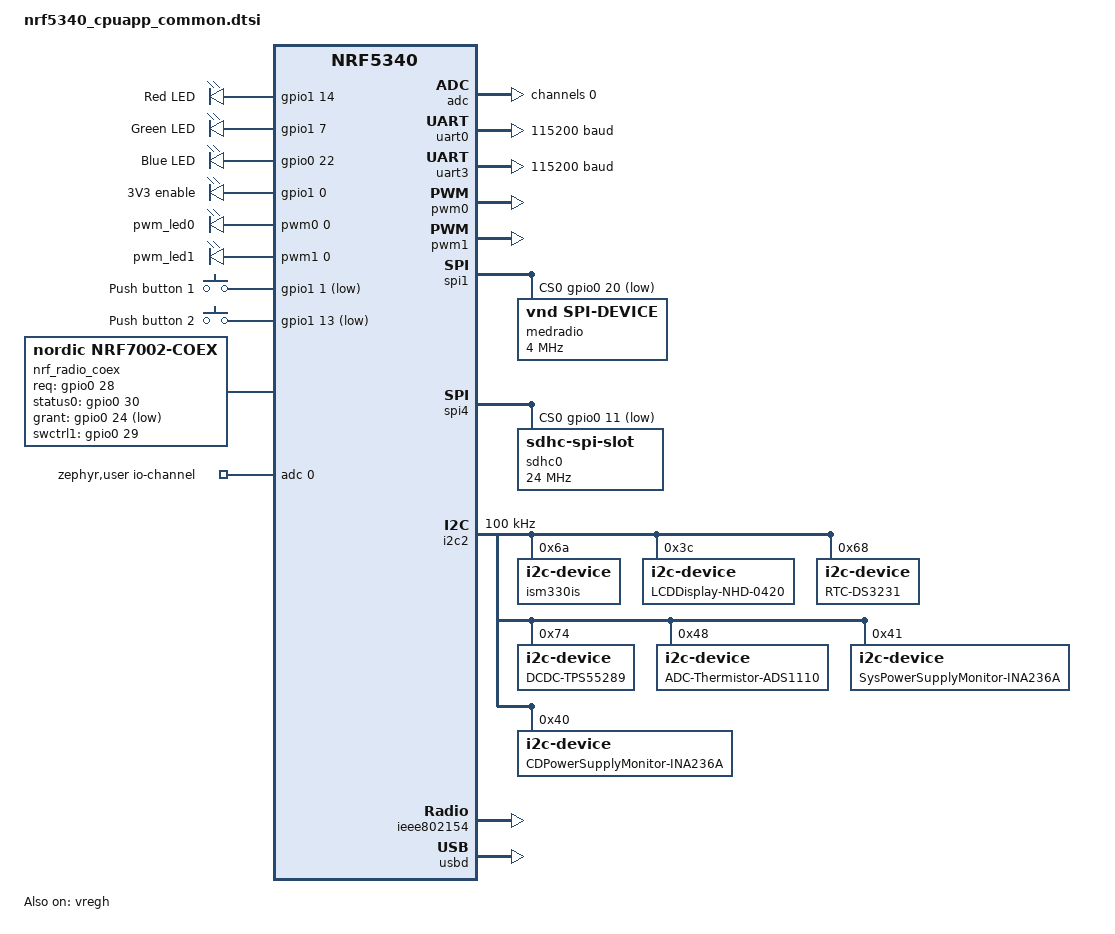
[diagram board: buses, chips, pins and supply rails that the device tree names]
/*
 * Copyright (c) 2024 Nordic Semiconductor ASA
 *
 * SPDX-License-Identifier: Apache-2.0
 */
#include "nrf5340_cpuapp_common_pinctrl.dtsi"
#include <zephyr/dt-bindings/input/input-event-codes.h>

/ {
	chosen {
		zephyr,console = &cdc_acm_uart0;
		nordic,nus-uart = &cdc_acm_uart0;
		zephyr,shell-uart = &cdc_acm_uart0;
		zephyr,uart-mcumgr = &uart0;
		zephyr,bt-mon-uart = &uart0;
		zephyr,bt-c2h-uart = &uart0;
		zephyr,bt-hci = &bt_hci_ipc0;
		nordic,802154-spinel-ipc = &ipc0;
		zephyr,ieee802154 = &ieee802154;
	};

	
	//gpios = <&gpio1 4 GPIO_ACTIVE_HIGH>;

	leds {
		compatible = "gpio-leds";

		led0: led_0{
            gpios = <&gpio1 14 (GPIO_ACTIVE_HIGH)>;
            label = "Red LED";
        };

        led1: led_1{
            gpios = <&gpio1 7 (GPIO_ACTIVE_HIGH)>;
            label = "Green LED";
        };

        led2: led_2{
            gpios = <&gpio0 22 (GPIO_ACTIVE_HIGH)>;
            label = "Blue LED";
        };

		en3v3: en3v3{
			gpios = <&gpio1 0 (GPIO_ACTIVE_HIGH)>;
			label = "3V3 enable";
		};
	};

	pwmleds {
		compatible = "pwm-leds";

		pwm_led0: pwm_led_0 {
			pwms = <&pwm0 0 PWM_MSEC(20) PWM_POLARITY_NORMAL>;
			status = "okay";
		};
		
		pwm_led1: pwm_led_1 {
            pwms = <&pwm1 0 PWM_MSEC(20) PWM_POLARITY_NORMAL>;
            status = "okay";
        };
	};

	buttons {
		compatible = "gpio-keys";

		button0: button_0 {
			gpios = <&gpio1 1 (GPIO_PULL_UP | GPIO_ACTIVE_LOW)>;
			label = "Push button 1";
			zephyr,code = <INPUT_KEY_0>;
		};

		button1: button_1 {
			gpios = <&gpio1 13 (GPIO_PULL_UP | GPIO_ACTIVE_LOW)>;
			label = "Push button 2";
			zephyr,code = <INPUT_KEY_1>;
		};
	};

	

	// gpio_fwd: nrf-gpio-forwarder {
	// 	compatible = "nordic,nrf-gpio-forwarder";
	// 	status = "disabled";

	// };

	/* These aliases are provided for compatibility with samples */
	aliases {
		led0 = &led0;
		led1 = &led1;
		led2 = &led2;
		en3v3 = &en3v3;
		pwm-led0 = &pwm_led0;
		pwm-led1 = &pwm_led1;
		sw0 = &button0;
		sw1 = &button1;
		bootloader-led0 = &led0;
		mcuboot-button0 = &button0;
		mcuboot-led0 = &led0;
		watchdog0 = &wdt0;
	};

	nrf_radio_coex: coex {
		status = "okay";
		compatible = "nordic,nrf7002-coex";
		req-gpios = <&gpio0 28 GPIO_ACTIVE_HIGH>;
		status0-gpios = <&gpio0 30 GPIO_ACTIVE_HIGH>;
		grant-gpios = <&gpio0 24 (GPIO_PULL_DOWN | GPIO_ACTIVE_LOW)>;
		swctrl1-gpios = <&gpio0 29 GPIO_ACTIVE_HIGH>;
	};
};

&vregmain {
	regulator-initial-mode = <NRF5X_REG_MODE_DCDC>;
};

&vregradio {
	regulator-initial-mode = <NRF5X_REG_MODE_DCDC>;
};

&vregh {
	status = "okay";
};

&lfxo {
	load-capacitors = "internal";
	load-capacitance-picofarad = <7>;
};

/ {
	zephyr,user {
		io-channels = <&adc 0>; //what does this do?
	};
};

&adc {
	#address-cells = <1>;
	#size-cells = <0>;
	status = "okay";
	channel@0 {
		reg = <0>;
		zephyr,gain = "ADC_GAIN_1_3";
		zephyr,reference = "ADC_REF_INTERNAL";
		zephyr,acquisition-time = <ADC_ACQ_TIME_DEFAULT>;
		zephyr,input-positive = <NRF_SAADC_AIN6>; /*  P0.27 for nRF5340 */
		zephyr,resolution = <12>;
	};
};

&nfct {
	status = "disabled";
};

&gpiote {
	status = "okay";
};

&gpio0 {
	status = "okay";
};

&gpio1 {
	status = "okay";
};

&i2c1 {
	status = "disabled";
};

&uart0 {
	status = "okay";
	current-speed = <115200>;
	pinctrl-0 = <&uart0_default>;
	pinctrl-1 = <&uart0_sleep>;
	pinctrl-names = "default", "sleep";
};

&uart3{
    compatible = "nordic,nrf-uarte";
	status = "okay";
    current-speed = <115200>;
    pinctrl-0 = <&uart3_default>;
	pinctrl-1 = <&uart3_sleep>;
    pinctrl-names = "default", "sleep";
};

&pwm0 {
	status = "okay";
	pinctrl-0 = <&pwm0_default>;
	pinctrl-1 = <&pwm0_sleep>;
	pinctrl-names = "default", "sleep";
};

&pwm1 {
    status = "okay";
    pinctrl-0 = <&pwm1_default>;
    pinctrl-1 = <&pwm1_sleep>;
    pinctrl-names = "default", "sleep";
};

&spi1 {
	status = "okay";
	compatible = "nordic,nrf-spim";
	cs-gpios = <&gpio0 20 GPIO_ACTIVE_LOW>;
	pinctrl-0 = <&spi1_default>;
	pinctrl-1 = <&spi1_sleep>;
	pinctrl-names = "default", "sleep";
	medradio: medradio@0 {
		compatible = "vnd,spi-device";
		reg = <0>;
		spi-max-frequency = <4000000>;
		label = "medradio";
	};
	
};


&spi4 {
    status = "okay";
    compatible = "nordic,nrf-spim";
    cs-gpios = <&gpio0 11 GPIO_ACTIVE_LOW>;
    pinctrl-0 = <&spi4_default>;
	pinctrl-1 = <&spi4_sleep>;
	pinctrl-names = "default", "sleep";

    sdhc0: sdhc@0 {
            compatible = "zephyr,sdhc-spi-slot";
            reg = <0>;
            status = "okay";
            sdmmc {  /*changed mmc to sdmmc */
                compatible = "zephyr,sdmmc-disk";
                status = "okay";
				disk-name = "SD";
            };
            spi-max-frequency = <24000000>;
    };
   
};

&i2c2{
	status = "okay";
	//compatible = "nordic,nrf-twim";
	pinctrl-0 = <&i2c2_default>;
	pinctrl-1 = <&i2c2_sleep>;
	pinctrl-names = "default", "sleep";
    clock-frequency = <100000>;  //NHD-Display only supports 50KHz
    ism330is@6A{
        status = "okay";
         compatible = "i2c-device"; //generic, no driver used
        reg=<0x6A>;
        //irq-gpios=<&gpio1 12 GPIO_ACTIVE_HIGH>,<&gpio1 13 GPIO_ACTIVE_HIGH>;
    };
    //The following are only used for the WL within the charger:
    lcddisplay:lcddisplay@3c{
        status="okay";
        compatible = "i2c-device"; //generic, no driver used
        reg = <0x3c>;
        label = "LCDDisplay-NHD-0420";
    };
    ertc:ertc@68{
        status="okay";
        compatible = "i2c-device"; //generic, no driver used
        reg = <0x68>;
        label = "RTC-DS3231";
    };
    dcdc:dcdc@74{
        status="okay";
        compatible = "i2c-device"; //generic, no driver used
        reg = <0x74>;
        label = "DCDC-TPS55289";
    };
    adctherm:adctherm@48{
        status="okay";
        compatible = "i2c-device"; //generic, no driver used
        reg = <0x48>;
        label = "ADC-Thermistor-ADS1110";
    };
    syspower:syspower@41{
        status="okay";
        compatible = "i2c-device"; //generic, no driver used
        reg = <0x41>;
        label = "SysPowerSupplyMonitor-INA236A";
    };
    cdpower:cdpower@40{
        status="okay";
        compatible = "i2c-device"; //generic, no driver used
        reg = <0x40>;
        label = "CDPowerSupplyMonitor-INA236A";
    };

};

&qspi {
	status = "disabled";
	pinctrl-0 = <&qspi_default>;
	pinctrl-1 = <&qspi_sleep>;
	pinctrl-names = "default", "sleep";
};


&spi0{
    status = "disabled";
};

&spi2{
    status = "disabled";
};

&spi3 {
	status = "disabled";
};

&ieee802154 {
	status = "okay";
};

zephyr_udc0: &usbd {
	cdc_acm_uart0: cdc_acm_uart0 {
 		compatible = "zephyr,cdc-acm-uart";
 	};
	status = "okay";
};

/* use NFC pins as regular GPIO */
&uicr {
	nfct-pins-as-gpios;
};

/* Include default memory partition configuration file */
#include <nordic/nrf5340_cpuapp_partition.dtsi>
